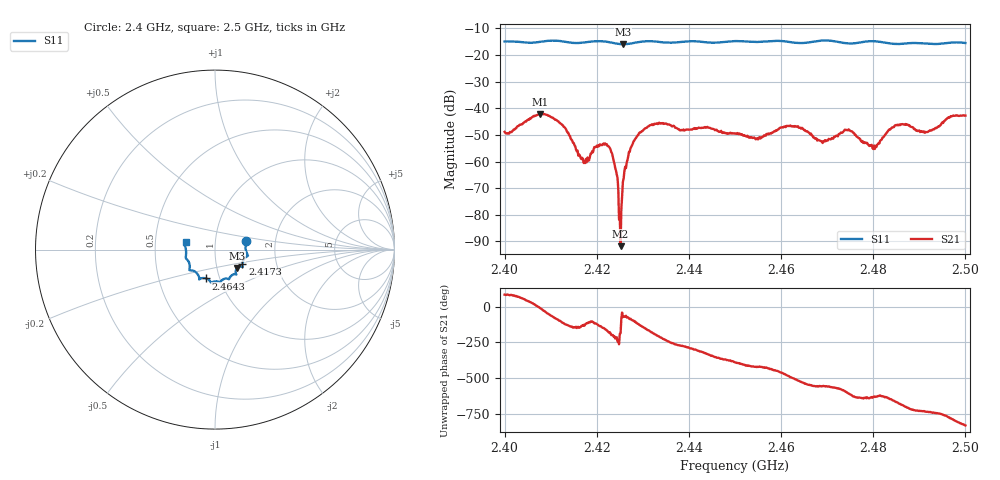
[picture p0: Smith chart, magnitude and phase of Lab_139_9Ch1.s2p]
# Hz S RI R 50
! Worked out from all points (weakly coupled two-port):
!   601 points, 2.4 GHz to 2.5 GHz, reference 50 ohm
!   highest |S21| = -42.08 dB at 2.4077 GHz (marker M1); lowest = -91.8 dB at 2.4252 GHz (marker M2)
!   lowest |S11| = -15.9 dB at 2.4257 GHz (marker M3), VSWR 1.38, Z = 62.5 - j13.1 ohm
!   |S11| at or under -10 dB: start of sweep to end of sweep
!   S12 and S22 are empty: the file has one direction only
!   S11 on the Smith chart (normalised r, x): 2.4 GHz: 1.41, +0.14; 2.4173 GHz: 1.34, -0.23; 2.4643 GHz: 0.86, -0.28; 2.5 GHz: 0.72, +0.06
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2.4e9  0.1734 0.0491  0.000431 0.00359  0 0  0 0
2.407667e9  0.1764 -0.0172  0.00774 -0.00142  0 0  0 0
2.412833e9  0.175 -0.0398  -0.00213 -0.00395  0 0  0 0
2.416667e9  0.1531 -0.0746  -0.000802 -0.000772  0 0  0 0
2.417333e9  0.1524 -0.0819  -0.0007 -0.000727  0 0  0 0
2.419833e9  0.1543 -0.0972  -0.000921 -0.00165  0 0  0 0
2.4225e9  0.1488 -0.0942  -0.00195 -5.51e-05  0 0  0 0
2.424e9  0.1366 -0.0944  -0.000547 0.000533  0 0  0 0
2.425167e9  0.1265 -0.0989  -2.56e-05 3.32e-06  0 0  0 0
2.425667e9  0.1229 -0.1022  0.000112 -0.000399  0 0  0 0
2.4265e9  0.1183 -0.1093  0.000216 -0.000932  0 0  0 0
2.428167e9  0.115 -0.1251  -0.000662 -0.00241  0 0  0 0
2.433333e9  0.1129 -0.1369  -0.00451 0.00236  0 0  0 0
2.45e9  0.0294 -0.1809  0.00288 -0.00179  0 0  0 0
2.464333e9  -0.0499 -0.1607  -0.00408 -0.00083  0 0  0 0
2.466667e9  -0.0759 -0.1596  -0.00302 0.000744  0 0  0 0
2.469333e9  -0.0877 -0.1665  -0.00227 0.000748  0 0  0 0
2.4745e9  -0.1016 -0.1309  -0.0015 0.00355  0 0  0 0
2.480333e9  -0.1431 -0.1123  0.000128 0.00172  0 0  0 0
2.483333e9  -0.1405 -0.0898  0.000961 0.00377  0 0  0 0
2.491667e9  -0.1614 -0.0287  0.00343 -0.00107  0 0  0 0
2.5e9  -0.1632 0.0423  -0.00292 -0.00668  0 0  0 0
